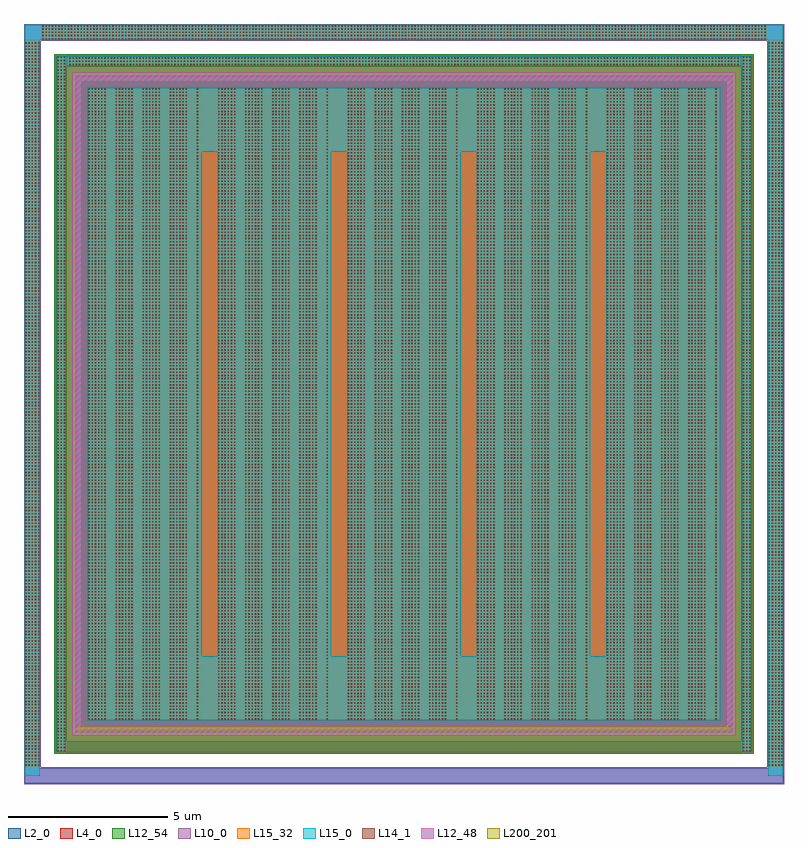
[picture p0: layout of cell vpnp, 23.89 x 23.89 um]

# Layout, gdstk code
import gdstk
lib = gdstk.Library(unit=1e-6, precision=1e-09)
def R(c, l, rs):  # rectangles x0, y0, x1, y1
    for r in rs: c.add(gdstk.rectangle(r[:2], r[2:], *l))
def A(c, l, x, y, w, h, nx, ny, dx, dy):  # array of equal rectangles
    R(c, l, [(x+i*dx, y+j*dy, x+i*dx+w, y+j*dy+h) for i in range(nx) for j in range(ny)])
L2_0 = (2, 0)
L4_0 = (4, 0)
L10_0 = (10, 0)
L12_48 = (12, 48)
L12_54 = (12, 54)
L14_1 = (14, 1)
L15_0 = (15, 0)
L15_32 = (15, 32)
L200_201 = (200, 201)

vpnp = lib.new_cell('vpnp')
R(vpnp, L2_0, [(-18.429,-10.459,5.423,-9.979), (-18.429,-9.979,-17.949,12.913), (4.943,-9.979,5.423,12.913), (-17.449,-9.479,4.443,-9.139), (-17.449,-9.139,-17.109,12.073), (4.103,-9.139,4.443,12.073), (-16.753,-8.783,3.747,11.717), (-17.449,12.073,4.443,12.413), (-18.429,12.913,5.423,13.393)])
R(vpnp, L4_0, [(-17.505,-9.535,4.499,12.469)])
R(vpnp, L10_0, [(-18.45,-10.48,5.444,-9.958), (-18.45,-9.958,-17.928,12.892), (4.922,-9.958,5.444,12.892), (-16.823,-8.853,3.817,11.787), (-18.45,12.892,5.444,13.414)])
R(vpnp, L12_48, [(-16.934,-8.964,3.928,-8.658), (-16.934,-8.658,-16.628,11.592), (3.622,-8.658,3.928,11.592), (-16.934,11.592,3.928,11.898)])
R(vpnp, L12_54, [(-17.505,-9.535,4.499,12.469)])
A(vpnp, L14_1, -18.409, -9.903, 0.04, 0.04, 5, 228, 0.1, 0.1)
A(vpnp, L14_1, 4.963, -9.903, 0.04, 0.04, 5, 228, 0.1, 0.1)
A(vpnp, L14_1, -17.399, -9.453, 0.04, 0.04, 3, 219, 0.1, 0.1)
A(vpnp, L14_1, 4.153, -9.453, 0.04, 0.04, 3, 219, 0.1, 0.1)
A(vpnp, L14_1, -16.423, -8.453, 0.04, 0.04, 6, 199, 0.1, 0.1)
A(vpnp, L14_1, -15.571, -8.453, 0.04, 0.04, 6, 199, 0.1, 0.1)
A(vpnp, L14_1, -14.719, -8.453, 0.04, 0.04, 6, 199, 0.1, 0.1)
A(vpnp, L14_1, -13.867, -8.453, 0.04, 0.04, 6, 199, 0.1, 0.1)
A(vpnp, L14_1, -13.015, -8.453, 0.04, 0.04, 1, 199, 0, 0.1)
A(vpnp, L14_1, -12.347, -8.453, 0.04, 0.04, 6, 199, 0.1, 0.1)
A(vpnp, L14_1, -11.495, -8.453, 0.04, 0.04, 6, 199, 0.1, 0.1)
A(vpnp, L14_1, -10.643, -8.453, 0.04, 0.04, 6, 199, 0.1, 0.1)
A(vpnp, L14_1, -9.791, -8.453, 0.04, 0.04, 6, 199, 0.1, 0.1)
A(vpnp, L14_1, -8.939, -8.453, 0.04, 0.04, 1, 199, 0, 0.1)
A(vpnp, L14_1, -8.272, -8.453, 0.04, 0.04, 6, 199, 0.1, 0.1)
A(vpnp, L14_1, -7.42, -8.453, 0.04, 0.04, 6, 199, 0.1, 0.1)
A(vpnp, L14_1, -6.568, -8.453, 0.04, 0.04, 6, 199, 0.1, 0.1)
A(vpnp, L14_1, -5.716, -8.453, 0.04, 0.04, 6, 199, 0.1, 0.1)
A(vpnp, L14_1, -4.864, -8.453, 0.04, 0.04, 1, 199, 0, 0.1)
A(vpnp, L14_1, -4.197, -8.453, 0.04, 0.04, 6, 199, 0.1, 0.1)
A(vpnp, L14_1, -3.345, -8.453, 0.04, 0.04, 6, 199, 0.1, 0.1)
A(vpnp, L14_1, -2.493, -8.453, 0.04, 0.04, 6, 199, 0.1, 0.1)
A(vpnp, L14_1, -1.641, -8.453, 0.04, 0.04, 6, 199, 0.1, 0.1)
A(vpnp, L14_1, -0.789, -8.453, 0.04, 0.04, 1, 199, 0, 0.1)
A(vpnp, L14_1, -0.122, -8.453, 0.04, 0.04, 6, 199, 0.1, 0.1)
A(vpnp, L14_1, 0.73, -8.453, 0.04, 0.04, 6, 199, 0.1, 0.1)
A(vpnp, L14_1, 1.582, -8.453, 0.04, 0.04, 6, 199, 0.1, 0.1)
A(vpnp, L14_1, 2.434, -8.453, 0.04, 0.04, 6, 199, 0.1, 0.1)
A(vpnp, L14_1, 3.286, -8.453, 0.04, 0.04, 1, 199, 0, 0.1)
A(vpnp, L14_1, -17.023, 12.123, 0.04, 0.04, 211, 3, 0.1, 0.1)
A(vpnp, L14_1, -17.873, 12.933, 0.04, 0.04, 228, 5, 0.1, 0.1)
A(vpnp, L15_0, -12.365, -6.471, 3.575, 15.876, 4, 1, 4.075, 0)
R(vpnp, L15_0, [(-18.427,-10.219,-17.951,13.391), (4.945,-10.219,5.421,13.391), (-17.417,-9.471,-17.141,12.405), (4.135,-9.471,4.411,12.405), (-16.441,-8.471,3.435,-6.471), (-16.441,-6.471,-12.866,9.405), (-16.441,9.405,3.435,11.405), (-17.141,12.105,4.135,12.405), (-17.951,12.915,4.945,13.391)])
R(vpnp, L15_32, [(-18.427,-9.921,-17.951,12.915), (4.945,-9.921,5.421,12.915), (-17.417,-9.471,-17.141,12.405), (4.135,-9.471,4.411,12.405), (-16.441,-8.471,3.435,11.405), (-17.041,12.105,4.035,12.381), (-17.891,12.915,4.885,13.391)])
R(vpnp, L200_201, [(-16.753,-8.783,3.747,-8.683)])

lib.write_gds('vpnp.gds')
